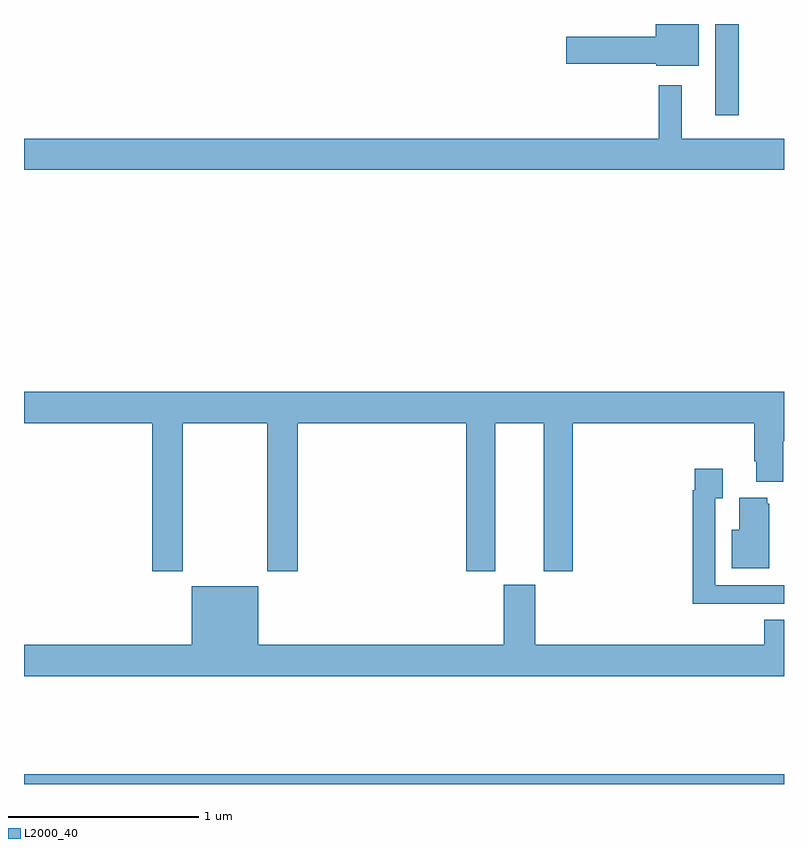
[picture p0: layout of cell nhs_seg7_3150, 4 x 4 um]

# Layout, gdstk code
import gdstk
lib = gdstk.Library(unit=1e-6, precision=1e-09)
def R(c, l, rs):  # rectangles x0, y0, x1, y1
    for r in rs: c.add(gdstk.rectangle(r[:2], r[2:], *l))
def P(c, l, *ps):  # polygons
    for p in ps: c.add(gdstk.Polygon(p, *l))
L2000_40 = (2000, 40)

nhs_seg7_3150 = lib.new_cell('nhs_seg7_3150')
R(nhs_seg7_3150, L2000_40, [(311,1048,315,1048.052), (314.639,1051.521,314.761,1052)])
P(nhs_seg7_3150, L2000_40, [(314.551,1052),(314.324,1052),(314.324,1051.934),(313.854,1051.934),(313.854,1051.792),(314.328,1051.792),(314.328,1051.781),(314.551,1051.781)],
  [(315,1051.396),(314.461,1051.396),(314.461,1051.678),(314.34,1051.678),(314.34,1051.396),(311,1051.396),(311,1051.232),(315,1051.232)],
  [(311.835,1049.9),(312.28,1049.9),(312.28,1049.121),(312.44,1049.121),(312.44,1049.9),(313.328,1049.9),(313.328,1049.121),(313.48,1049.121),(313.48,1049.9),(313.736,1049.9),(313.736,1049.121),(313.889,1049.121),(313.889,1049.9),(314.843,1049.9),(314.843,1049.698),(314.855,1049.698),(314.855,1049.591),(314.995,1049.591),(314.995,1049.804),(315,1049.804),(315,1050.064),(311,1050.064),(311,1049.9),(311.675,1049.9),(311.675,1049.121),(311.835,1049.121)],
  [(314.813,1048.95),(315,1048.95),(315,1049.046),(314.637,1049.046),(314.637,1049.503),(314.677,1049.503),(314.677,1049.659),(314.529,1049.659),(314.529,1049.546),(314.521,1049.546),(314.521,1048.949),(314.813,1048.949)],
  [(314.923,1049.475),(314.912,1049.475),(314.912,1049.506),(314.765,1049.506),(314.765,1049.338),(314.726,1049.338),(314.726,1049.135),(314.923,1049.135)],
  [(315,1048.865),(314.897,1048.865),(314.897,1048.732),(313.69,1048.732),(313.69,1049.049),(313.526,1049.049),(313.526,1048.732),(312.232,1048.732),(312.232,1049.041),(311.882,1049.041),(311.882,1048.732),(311,1048.732),(311,1048.568),(315,1048.568)])

lib.write_gds('nhs_seg7_3150.gds')
